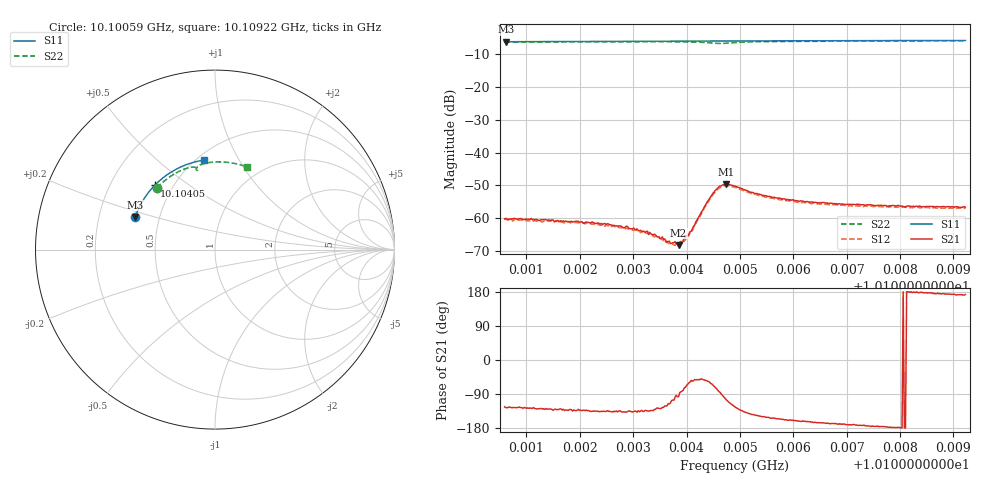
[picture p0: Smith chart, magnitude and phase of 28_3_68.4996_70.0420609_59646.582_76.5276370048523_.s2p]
#  HZ  S  RI  R  50.00
! Rohde & Schwarz Vector Network Analyzer
! Rohde-Schwarz,ZNB20-2Port,1311601062101988,3.16
! Created: UTC 3/20/2024, 5:04:58 PM
! freq[Hz]  re:S11  im:S11  re:S21  im:S21  re:S12  im:S12  re:S22  im:S22
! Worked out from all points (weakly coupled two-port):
!   401 points, 10.10059 GHz to 10.10922 GHz, reference 50 ohm
!   highest |S21| = -49.69 dB at 10.10474 GHz (marker M1); lowest = -68.0 dB at 10.10385 GHz (marker M2)
!   lowest |S11| = -6.4 dB at 10.10061 GHz (marker M3), VSWR 2.85, Z = 18.1 + j8.55 ohm
!   |S11| at or under -10 dB: nowhere
!   |S22| runs from -6.9 to -6.1 dB; largest |S21 - S12| = 0.00034
!   S11 on the Smith chart (normalised r, x): 10.10059 GHz: 0.36, +0.17; 10.10405 GHz: 0.40, +0.37; 10.10922 GHz: 0.54, +0.72
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1.0100593e10  -0.4454 0.18  -0.000542 -0.000824  -0.000466 -0.000823  -0.3248 0.3439
1.0100615e10  -0.4449 0.1813  -0.000587 -0.000812  -0.000494 -0.000843  -0.3238 0.3446
1.0102039e10  -0.4092 0.2603  -0.000619 -0.000645  -0.000533 -0.000682  -0.2534 0.4044
1.0102492e10  -0.3951 0.284  -0.000582 -0.000564  -0.000521 -0.000582  -0.2285 0.4204
1.0102902e10  -0.3809 0.3045  -0.00053 -0.00052  -0.000469 -0.000513  -0.2047 0.4334
1.010329e10  -0.3668 0.3231  -0.000408 -0.000409  -0.000367 -0.000433  -0.181 0.4446
1.0103484e10  -0.3594 0.3324  -0.000323 -0.000415  -0.000285 -0.000415  -0.1685 0.4496
1.0103678e10  -0.3516 0.3412  -0.000197 -0.000405  -0.000118 -0.000392  -0.1553 0.4541
1.0103851e10  -0.3446 0.349  -4.86e-05 -0.000394  3.51e-05 -0.000377  -0.1431 0.4573
1.0103894e10  -0.3429 0.3509  4.65e-05 -0.000445  8.42e-05 -0.000407  -0.1398 0.4581
1.0104002e10  -0.3383 0.3556  0.000213 -0.000506  0.000227 -0.000442  -0.1318 0.4593
1.0104045e10  -0.3364 0.3576  0.000284 -0.000504  0.000308 -0.000451  -0.1284 0.4596
1.0104369e10  -0.3224 0.3712  0.000981 -0.00134  0.00104 -0.00121  -0.1026 0.4547
1.0104498e10  -0.3168 0.3766  0.000958 -0.00222  0.00111 -0.00204  -0.0966 0.4471
1.0104628e10  -0.3111 0.3817  0.000238 -0.00309  0.000468 -0.00288  -0.0989 0.441
1.0104735e10  -0.3061 0.3861  -0.000746 -0.00319  -0.000437 -0.00311  -0.1033 0.4433
1.0104908e10  -0.2982 0.3928  -0.00172 -0.00255  -0.00145 -0.00257  -0.1023 0.4551
1.0105232e10  -0.283 0.4051  -0.002 -0.00145  -0.0018 -0.00157  -0.0827 0.4714
1.0105512e10  -0.2691 0.4151  -0.0019 -0.00103  -0.00174 -0.00115  -0.0631 0.4786
1.0106354e10  -0.2262 0.4423  -0.0017 -0.0005  -0.00157 -0.000595  -0.00614 0.4876
1.0107799e10  -0.1464 0.478  -0.00156 -7.18e-05  -0.00146 -0.000234  0.0875 0.4837
1.0109223e10  -0.0629 0.4984  -0.00147 0.000183  -0.0014 4.76e-05  0.1759 0.4622
